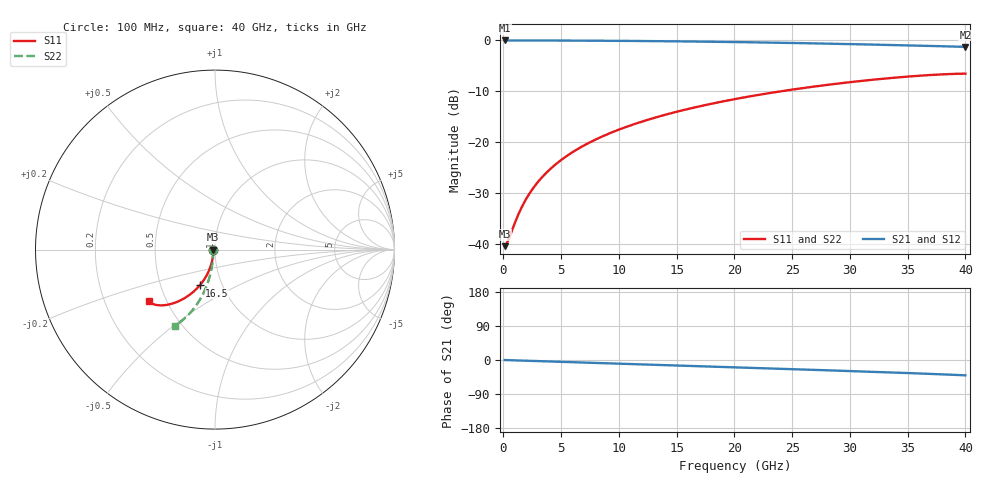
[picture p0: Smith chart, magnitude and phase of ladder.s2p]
! X_s8x4_L1L3_bd_d200: via ladder as kisi uses it (kisi_si::via_pbm, graded grid, junction model), ports at the via
# Hz S RI R 50
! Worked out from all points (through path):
!   400 points, 100 MHz to 40 GHz, reference 50 ohm
!   highest |S21| = -0.08 dB at 100 MHz (marker M1); lowest = -1.3 dB at 40 GHz (marker M2)
!   group delay of S21, straight-line fit = 2.75 ps
!   lowest |S11| = -40.5 dB at 100 MHz (marker M3), VSWR 1.02, Z = 49.1 - j0.127 ohm
!   |S11| at or under -10 dB: start of sweep to 24.21 GHz
!   |S22| runs from -40.5 to -6.3 dB; largest |S21 - S12| = 0
!   S11 on the Smith chart (normalised r, x): 100 MHz: 0.98, -0.00; 16.5 GHz: 0.78, -0.33; 40 GHz: 0.40, -0.29
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1e8  -0.00939 -0.0013  0.9906 -0.00166  0.9906 -0.00166  -0.00939 -0.0013
2e8  -0.0094 -0.00259  0.9906 -0.00332  0.9906 -0.00332  -0.00939 -0.0026
4e8  -0.00943 -0.00518  0.9906 -0.00663  0.9906 -0.00663  -0.00941 -0.0052
1.1e9  -0.00973 -0.0143  0.9903 -0.0182  0.9903 -0.0182  -0.00956 -0.0143
1.6e9  -0.0101 -0.0207  0.99 -0.0265  0.99 -0.0265  -0.00976 -0.0208
2.2e9  -0.0108 -0.0285  0.9895 -0.0365  0.9895 -0.0365  -0.0101 -0.0286
2.8e9  -0.0116 -0.0362  0.9889 -0.0464  0.9889 -0.0464  -0.0105 -0.0364
3.6e9  -0.0131 -0.0465  0.9877 -0.0596  0.9877 -0.0596  -0.0113 -0.0467
4.5e9  -0.0152 -0.058  0.9861 -0.0745  0.9861 -0.0745  -0.0123 -0.0584
5.6e9  -0.0184 -0.072  0.9836 -0.0925  0.9836 -0.0925  -0.014 -0.0726
6.8e9  -0.0226 -0.0872  0.9802 -0.1122  0.9802 -0.1122  -0.0162 -0.0881
8.2e9  -0.0286 -0.1046  0.9755 -0.1349  0.9755 -0.1349  -0.0193 -0.1061
9.7e9  -0.0362 -0.1229  0.9695 -0.1591  0.9695 -0.1591  -0.0233 -0.1253
1.15e10  -0.0469 -0.1443  0.961 -0.1877  0.961 -0.1877  -0.0289 -0.1482
1.34e10  -0.0601 -0.1662  0.9505 -0.2175  0.9505 -0.2175  -0.036 -0.1721
1.65e10  -0.0855 -0.1998  0.93 -0.2647  0.93 -0.2647  -0.05 -0.2104
2.01e10  -0.1205 -0.2349  0.9011 -0.3172  0.9011 -0.3172  -0.0699 -0.2535
2.33e10  -0.1561 -0.2619  0.8712 -0.3612  0.8712 -0.3612  -0.0908 -0.2899
2.67e10  -0.1976 -0.2852  0.8353 -0.4051  0.8353 -0.4051  -0.1162 -0.326
3.34e10  -0.2868 -0.3101  0.7531 -0.483  0.7531 -0.483  -0.1728 -0.3865
3.7e10  -0.3347 -0.3067  0.7018 -0.5223  0.7018 -0.5223  -0.2036 -0.411
4e10  -0.3688 -0.288  0.6513 -0.5567  0.6513 -0.5567  -0.2249 -0.426
